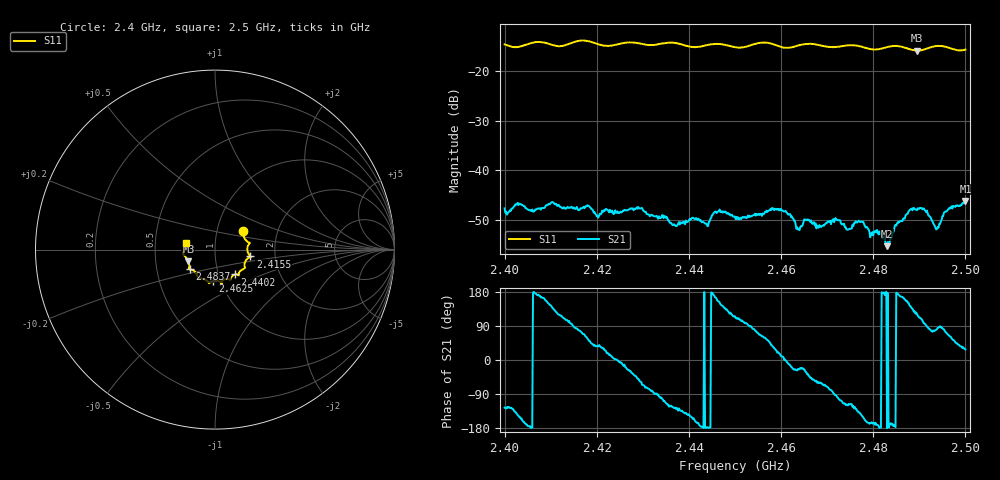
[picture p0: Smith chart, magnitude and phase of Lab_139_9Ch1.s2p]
# Hz S RI R 50
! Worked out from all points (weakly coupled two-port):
!   601 points, 2.4 GHz to 2.5 GHz, reference 50 ohm
!   highest |S21| = -46.17 dB at 2.5 GHz (marker M1); lowest = -55.3 dB at 2.483 GHz (marker M2)
!   lowest |S11| = -15.8 dB at 2.4895 GHz (marker M3), VSWR 1.39, Z = 36.8 - j4.99 ohm
!   |S11| at or under -10 dB: start of sweep to end of sweep
!   S12 and S22 are empty: the file has one direction only
!   S11 on the Smith chart (normalised r, x): 2.4 GHz: 1.33, +0.29; 2.4155 GHz: 1.49, -0.12; 2.4402 GHz: 1.20, -0.34; 2.4625 GHz: 0.92, -0.33; 2.4837 GHz: 0.74, -0.17; 2.5 GHz: 0.72, +0.06
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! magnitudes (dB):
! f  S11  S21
! 2.4 GHz  -14.5  -47.7
! 2.4155 GHz  -13.9  -47.7
! 2.4167 GHz  -13.8  -47.7
! 2.4293 GHz  -14.4  -47.7
! 2.4333 GHz  -14.5  -49.8
! 2.4402 GHz  -15.0  -49.8
! 2.45 GHz  -15.1  -49.4
! 2.4585 GHz  -14.6  -48.1
! 2.4625 GHz  -15.1  -49.7
! 2.4637 GHz  -14.8  -52.0
! 2.4667 GHz  -14.4  -50.7
! 2.4722 GHz  -15.0  -50.0
! 2.4747 GHz  -14.7  -51.9
! 2.4773 GHz  -15.0  -50.3
! 2.483 GHz  -15.1  -55.3
! 2.4833 GHz  -15.0  -55.0
! 2.4837 GHz  -14.9  -54.1
! 2.4852 GHz  -14.9  -50.8
! 2.4895 GHz  -15.8  -48.1
! 2.4938 GHz  -14.9  -51.8
! 2.4958 GHz  -15.1  -48.3
! 2.5 GHz  -15.6  -46.2
